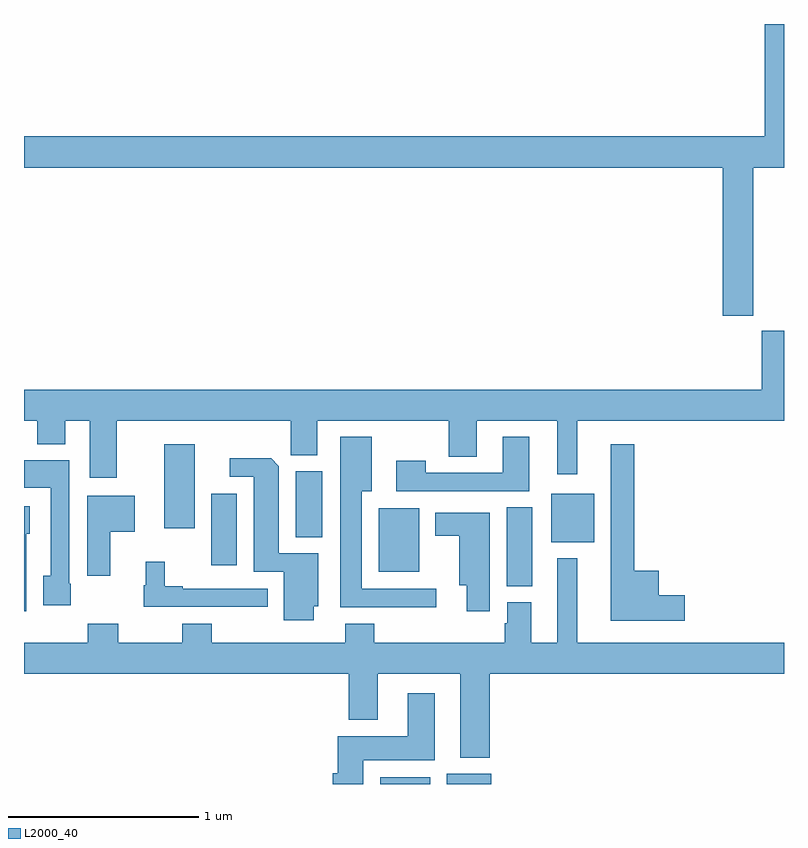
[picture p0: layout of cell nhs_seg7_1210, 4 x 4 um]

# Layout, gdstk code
import gdstk
lib = gdstk.Library(unit=1e-6, precision=1e-09)
def R(c, l, rs):  # rectangles x0, y0, x1, y1
    for r in rs: c.add(gdstk.rectangle(r[:2], r[2:], *l))
def P(c, l, *ps):  # polygons
    for p in ps: c.add(gdstk.Polygon(p, *l))
L2000_40 = (2000, 40)

nhs_seg7_1210 = lib.new_cell('nhs_seg7_1210')
R(nhs_seg7_1210, L2000_40, [(196.874,1036,197.137,1036.036), (197.225,1036,197.458,1036.054), (197.54,1037.041,197.674,1037.456), (196.868,1037.117,197.08,1037.452), (195.986,1037.151,196.12,1037.527), (197.774,1037.273,198.001,1037.527), (196.43,1037.3,196.57,1037.646), (195.737,1037.346,195.898,1037.788)])
P(nhs_seg7_1210, L2000_40, [(198.837,1039.244),(199,1039.244),(199,1040),(198.899,1040),(198.899,1039.408),(195,1039.408),(195,1039.244),(198.677,1039.244),(198.677,1038.465),(198.837,1038.465)],
  [(195.487,1037.912),(196.405,1037.912),(196.405,1037.731),(196.543,1037.731),(196.543,1037.912),(197.236,1037.912),(197.236,1037.722),(197.383,1037.722),(197.383,1037.912),(197.807,1037.912),(197.807,1037.631),(197.911,1037.631),(197.911,1037.912),(199,1037.912),(199,1038.385),(198.884,1038.385),(198.884,1038.076),(195,1038.076),(195,1037.912),(195.07,1037.912),(195.07,1037.789),(195.217,1037.789),(195.217,1037.912),(195.347,1037.912),(195.347,1037.613),(195.487,1037.613)],
  [(197.17,1037.028),(196.777,1037.028),(196.777,1037.54),(196.831,1037.54),(196.831,1037.827),(196.664,1037.827),(196.664,1036.93),(197.17,1036.93)],
  [(197.659,1037.827),(197.519,1037.827),(197.519,1037.637),(197.115,1037.637),(197.115,1037.701),(196.959,1037.701),(196.959,1037.541),(197.659,1037.541)],
  [(198.478,1036.994),(198.34,1036.994),(198.34,1037.122),(198.211,1037.122),(198.211,1037.788),(198.089,1037.788),(198.089,1036.859),(198.478,1036.859)],
  [(196.525,1036.935),(196.549,1036.935),(196.549,1037.214),(196.342,1037.214),(196.342,1037.672),(196.301,1037.714),(196.083,1037.714),(196.083,1037.616),(196.208,1037.616),(196.208,1037.118),(196.367,1037.118),(196.367,1036.863),(196.525,1036.863)],
  [(195.245,1037.053),(195.237,1037.053),(195.237,1037.704),(195,1037.704),(195,1037.558),(195.141,1037.558),(195.141,1037.097),(195.101,1037.097),(195.101,1036.941),(195.245,1036.941)],
  [(195.454,1037.327),(195.583,1037.327),(195.583,1037.518),(195.332,1037.518),(195.332,1037.097),(195.454,1037.097)],
  [(195.013,1037.316),(195.031,1037.316),(195.031,1037.461),(195,1037.461),(195,1036.908),(195.013,1036.908)],
  [(197.452,1037.428),(197.165,1037.428),(197.165,1037.306),(197.291,1037.306),(197.291,1037.045),(197.33,1037.045),(197.33,1036.908),(197.452,1036.908)],
  [(197.45,1036.58),(199,1036.58),(199,1036.744),(197.911,1036.744),(197.911,1037.188),(197.807,1037.188),(197.807,1036.744),(197.671,1036.744),(197.671,1036.956),(197.543,1036.956),(197.543,1036.845),(197.531,1036.845),(197.531,1036.744),(196.844,1036.744),(196.844,1036.843),(196.691,1036.843),(196.691,1036.744),(195.987,1036.744),(195.987,1036.843),(195.832,1036.843),(195.832,1036.744),(195.495,1036.744),(195.495,1036.843),(195.335,1036.843),(195.335,1036.744),(195,1036.744),(195,1036.58),(196.709,1036.58),(196.709,1036.337),(196.861,1036.337),(196.861,1036.58),(197.297,1036.58),(197.297,1036.139),(197.45,1036.139)],
  [(196.282,1037.028),(195.835,1037.028),(195.835,1037.041),(195.741,1037.041),(195.741,1037.17),(195.641,1037.17),(195.641,1037.046),(195.63,1037.046),(195.63,1036.932),(196.282,1036.932)],
  [(196.786,1036.124),(197.161,1036.124),(197.161,1036.477),(197.021,1036.477),(197.021,1036.252),(196.652,1036.252),(196.652,1036.057),(196.625,1036.057),(196.625,1036),(196.786,1036)])

lib.write_gds('nhs_seg7_1210.gds')
